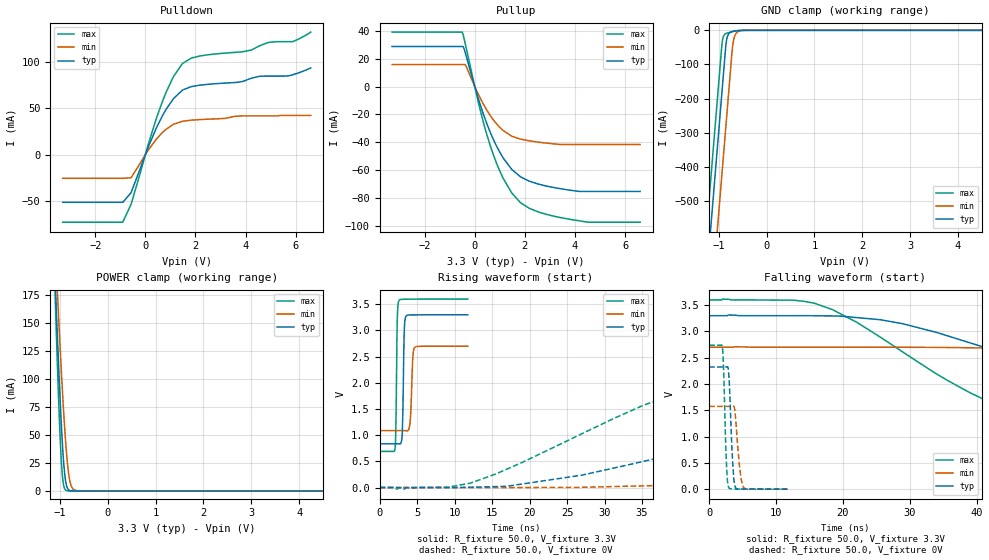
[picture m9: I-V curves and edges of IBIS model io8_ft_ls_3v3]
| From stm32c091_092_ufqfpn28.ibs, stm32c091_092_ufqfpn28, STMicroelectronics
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[Model]   io8_ft_ls_3v3
Model_type I/O
Polarity   Non-Inverting
Enable   Active-Low
| CAP_THRESHOLD on pad IOFT is "UDTCAPC" :
| Rising=30.0% of vddiom   Falling=70.0% of vddiom
| C_comp min and max val. don't necessarily correlate with the min and max pvt
| but are the smallest and greatest pad capacitance found.
| var   typ   min   max
C_comp   2.01479pF  1.96668pF  2.03930pF
|C_comp_pullup   1.19124pF  1.16065pF  1.16321pF
|C_comp_pulldown   823.54221fF  806.02541fF  876.09795fF
Vinl = 1.35V
Vinh = 1.8V
Vmeas = 1.65V   | Reference voltage for timing measurements
Cref  = 50.0pF   | Timing specification test load capacitance value
Rref  = 1.0MOhm   | Timing specification test load resistance value
Vref  = 1.815V   | Timing specification test load voltage
[Model Spec]
| TIME_THRESHOLD on pin ZIV12 is "CMOS" :
| Rising=50.0% of vdd   Falling=50.0% of vdd
Vinl 1.34770V 1.11370V 1.44970V
Vinh 1.77530V 1.49530V 1.90330V
| variable   typ   min   max
[Temperature Range] 25.0 125.0 -40.0
| variable   typ   min   max
[Voltage Range] 3.3V 2.7V 3.6V
| variable   typ   min   max
[POWER Clamp Reference] 3.3V 2.7V 3.6V
| variable   typ   min   max
[GND Clamp Reference] 0V 0V 0V
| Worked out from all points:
|   slope of the pulldown table from 0 to 0.495 V, typ, clamps not added: 15.4 ohm
|   slope of the pullup table from 0 to 0.495 V, typ, clamps not added: 18.1 ohm
|   GND clamp passes 1 mA (typ) near -0.60 V on its own axis
|   POWER clamp passes 1 mA (typ) near -0.81 V on its own axis
|   rising waveform, R_fixture 50.0, V_fixture 3.3V: 20-80 % time 173ps typ, 247ps min, 154ps max; typ from 0.835 V to 3.3 V
|   falling waveform, R_fixture 50.0, V_fixture 3.3V: 20-80 % time 39.2ns typ, 81.2ns min, 24.6ns max; typ from 3.3 V to 0.835 V
|   rising waveform, R_fixture 50.0, V_fixture 0V: 20-80 % time 47.3ns typ, 107ns min, 28.7ns max; typ from 0 V to 2.32 V
|   falling waveform, R_fixture 50.0, V_fixture 0V: 20-80 % time 465ps typ, 651ps min, 379ps max; typ from 2.33 V to 0 V
[POWER Clamp]
-3.3V     2.991A     2.543A     3.694A
-1.1V     191.1mA    222.7mA    177.1mA
-1.08V    169mA      204.2mA    149.9mA
-1.05V    136.9mA    176.9mA    110.9mA
-1.01V    96.55mA    141.6mA    64.02mA
-970mV    60.39mA    108.2mA    27.41mA
-930mV    31.08mA    77.43mA    7.282mA
-900mV    15.67mA    56.69mA    2.025mA
-860mV    4.779mA    33.42mA    315.2uA
-780mV    272.1uA    6.953mA    6.98uA
-670mV    4.467uA    374.2uA    36.58nA
6.6V      0A         0A         0A
[GND Clamp]
-3.3V     -4.209A    -4.449A    -4.067A
-1.25V    -724.3mA   -963.9mA   -582.3mA
-940mV    -197.3mA   -436.9mA   -55.31mA
-900mV    -129.3mA   -368.9mA   -18.05mA
-850mV    -45.25mA   -283.9mA   -9.777mA
-830mV    -25.62mA   -249.8mA   -8.529mA
-790mV    -10.15mA   -181.9mA   -6.665mA
-720mV    -3.762mA   -62.85mA   -4.025mA
-700mV    -3.047mA   -38.71mA   -3.371mA
-650mV    -1.786mA   -12.52mA   -1.967mA
-550mV    -403.5uA   -1.578mA   -350.4uA
6.6V      932.9pA    92.35nA    684.5pA
| variable   typ   min   max
[Pullup Reference] 3.3V 2.7V 3.6V
| variable   typ   min   max
[Pulldown Reference] 0V 0V 0V
[Pullup]
-3.3V     28.84mA    15.81mA    39.19mA
-500mV    28.84mA    15.81mA    39.05mA
-440mV    27.84mA    15.81mA    35.55mA
-350mV    22.49mA    14.78mA    28.43mA
250mV     -14.78mA   -9.467mA   -19.21mA
730mV     -37.54mA   -23.64mA   -48.39mA
1.14V     -51.54mA   -31.73mA   -66.22mA
1.48V     -59.67mA   -35.78mA   -76.65mA
1.83V     -65.01mA   -37.85mA   -83.65mA
2.51V     -70.03mA   -39.93mA   -90.06mA
3.88V     -74.77mA   -41.71mA   -95.78mA
6.6V      -75.45mA   -41.71mA   -97.6mA
[Pulldown]
-3.3V     -51.64mA   -25.66mA   -73.18mA
-900mV    -51.64mA   -25.66mA   -73.04mA
-570mV    -41.2mA    -25.04mA   -53.78mA
120mV     8.582mA    5.119mA    11.54mA
690mV     42.49mA    24.14mA    58.21mA
1.09V     59.44mA    32.3mA     82.71mA
1.48V     69.88mA    36.14mA    98.63mA
2.17V     75.22mA    37.94mA    106.8mA
3.88V     79.15mA    41.94mA    111.3mA
4.9V      85.07mA    41.94mA    121.4mA
5.88V     86.5mA     42.4mA     122.4mA
6.6V      93.9mA     42.4mA     132.7mA
[Ramp]
dV/dt_r 1.39444V/47.2785ns 945.17985mV/106.50465ns 1.64363V/28.67216ns
dV/dt_f 1.47912V/39.20811ns 967.85811mV/81.21184ns 1.74618V/24.63763ns
R_load = 50.0
| Removed startup time: 0s 0s 0s  .
| Removed end time: 11.75ns.
[Rising Waveform]
R_fixture   = 50.0
V_fixture   = 3.3V
V_fixture_min = 2.7V
V_fixture_max = 3.6V
0s        834.9mV    1.087V     689.8mV
2.05ns    834.9mV    1.087V     745.2mV
2.35ns    834.9mV    1.087V     3.209V
2.6ns     834.1mV    1.087V     3.577V
3ns       992.5mV    1.087V     3.595V
3.25ns    2.844V     1.087V     3.596V
3.5ns     3.268V     1.085V     3.597V
4.05ns    3.296V     1.235V     3.598V
4.65ns    3.297V     2.673V     3.598V
11.75ns   3.3V       2.7V       3.6V
| Removed startup time: 0s 0s 0s  .
| Removed end time: 749.775ns.
[Falling Waveform]
R_fixture   = 50.0
V_fixture   = 3.3V
V_fixture_min = 2.7V
V_fixture_max = 3.6V
0s        3.3V       2.7V       3.6V
15.75ns   3.299V     2.7V       3.538V
28.9ns    3.149V     2.7V       2.614V
50.33ns   2.296V     2.647V     1.185V
58.15ns   1.963V     2.583V     942.1mV
72.72ns   1.455V     2.435V     808.3mV
95.08ns   1.049V     2.153V     742.7mV
159.2ns   879.3mV    1.406V     697.8mV
249.9ns   842.3mV    1.17V      690.5mV
749.8ns   834.8mV    1.087V     689.7mV
| Removed startup time: 0s 0s 0s  .
| Removed end time: 749.75ns.
[Rising Waveform]
R_fixture   = 50.0
V_fixture   = 0V
V_fixture_min = 0V
V_fixture_max = 0V
0s        29.11nV    76.9nV     36.7nV
12.1ns    5.399mV    -71.75uV   83.95mV
26.95ns   235.8mV    3.942mV    1.026V
35ns      493.2mV    30.98mV    1.559V
53.55ns   1.138V     123.5mV    2.368V
82.75ns   1.889V     391.2mV    2.653V
121.3ns   2.208V     798.8mV    2.718V
180.5ns   2.301V     1.255V     2.736V
236.9ns   2.318V     1.455V     2.738V
749.8ns   2.324V     1.575V     2.739V
| Removed startup time: 0s 0s 0s  .
| Removed end time: 11.75ns.
[Falling Waveform]
R_fixture   = 50.0
V_fixture   = 0V
V_fixture_min = 0V
V_fixture_max = 0V
0s        2.325V     1.575V     2.739V
2ns       2.325V     1.575V     2.693V
2.2ns     2.325V     1.575V     2.192V
2.6ns     2.325V     1.575V     480mV
2.9ns     2.258V     1.575V     42.3mV
3.5ns     561.1mV    1.578V     3.367mV
3.9ns     39.7mV     1.446V     2.545mV
4.55ns    2.96mV     438.7mV    1.6mV
5.15ns    1.676mV    34.17mV    1.327mV
11.75ns   200.4uV    184.1uV    179.7uV
